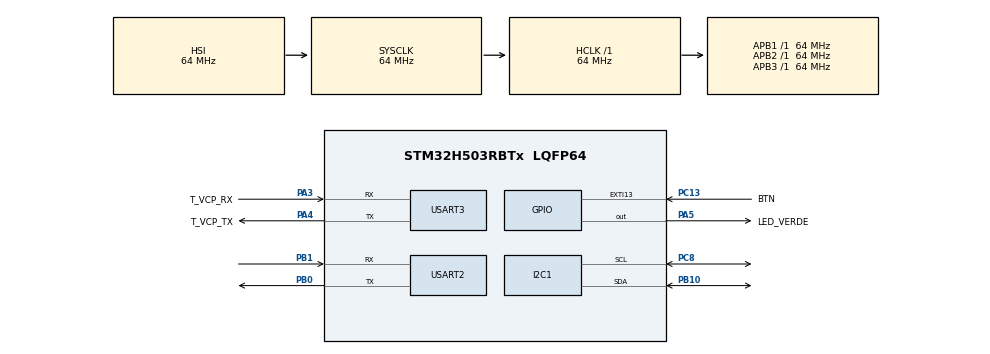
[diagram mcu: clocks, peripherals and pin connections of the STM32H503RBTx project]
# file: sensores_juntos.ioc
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BOOTPATH.BootPathName=LEGACY
BOOTPATH.UserSelectedBootPath=LEGACY
I2C1.Timing=0x10707DBC
Mcu.Family=STM32H5
Mcu.Name=STM32H503RBTx
Mcu.Package=LQFP64
NVIC.I2C1_EV_IRQn=true\:0\:0\:false\:false\:true\:true\:true\:true
NVIC.PriorityGroup=NVIC_PRIORITYGROUP_4
NVIC.USART3_IRQn=true\:0\:0\:false\:false\:true\:true\:true\:true
PA3.GPIO_Label=T_VCP_RX
PA3.Mode=Asynchronous
PA3.Signal=USART3_RX
PA4.GPIO_Label=T_VCP_TX
PA4.Mode=Asynchronous
PA4.Signal=USART3_TX
PA5.GPIO_Label=LED_VERDE
PA5.Signal=GPIO_Output
PB0.Mode=Asynchronous
PB0.Signal=USART2_TX
PB1.Mode=Asynchronous
PB1.Signal=USART2_RX
PB10.Mode=I2C
PB10.Signal=I2C1_SDA
PC13.GPIO_Label=BTN
PC13.Signal=GPXTI13
PC8.Mode=I2C
PC8.Signal=I2C1_SCL
ProjectManager.HeapSize=0x200
ProjectManager.StackSize=0x400
ProjectManager.TargetToolchain=STM32CubeIDE
RCC.ADCFreq_Value=64000000
RCC.AHBFreq_Value=64000000
RCC.APB1Freq_Value=64000000
RCC.APB1TimFreq_Value=64000000
RCC.APB2Freq_Value=64000000
RCC.APB2TimFreq_Value=64000000
RCC.APB3Freq_Value=64000000
RCC.CSI_VALUE=4000000
RCC.CortexFreq_Value=64000000
RCC.EPOD_VALUE=4000000
RCC.HCLKFreq_Value=64000000
RCC.HSE_VALUE=24000000
RCC.HSI48_VALUE=48000000
RCC.HSIDiv=RCC_HSI_DIV1
RCC.HSI_VALUE=64000000
RCC.LSE_VALUE=32768
RCC.LSIRC_VALUE=32000
RCC.PLLN=32
RCC.SYSCLKFreq_VALUE=64000000
RCC.USBFreq_Value=48000000
RCC.VCOOutputFreq_Value=128000000
USART2.VirtualMode-Asynchronous=VM_ASYNC
USART3.VirtualMode-Asynchronous=VM_ASYNC
VP_BOOTPATH_VS_BOOTPATH.Mode=BP_Activate
VP_CORTEX_M33_NS_VS_Hclk.Mode=Hclk_Mode
VP_MEMORYMAP_VS_MEMORYMAP.Mode=CurAppReg
VP_PWR_VS_DBSignals.Mode=DisableDeadBatterySignals
VP_PWR_VS_LPOM.Mode=PowerOptimisation
VP_PWR_VS_SECSignals.Mode=Security/Privilege
board=NUCLEO-H503RB

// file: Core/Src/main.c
/* USER CODE BEGIN Header */
/**
  ******************************************************************************
  * @file           : main.c
  * @brief          : Main program body
  ******************************************************************************
  * @attention
  *
  * Copyright (c) 2025 STMicroelectronics.
  * All rights reserved.
  *
  * This software is licensed under terms that can be found in the LICENSE file
  * in the root directory of this software component.
  * If no LICENSE file comes with this software, it is provided AS-IS.
  *
  ******************************************************************************
  */
/* USER CODE END Header */
#include "main.h"

/* USER CODE BEGIN Includes */
#include "stdbool.h"
#include "stdio.h"
#include "string.h"
/* USER CODE END Includes */

/* USER CODE BEGIN PTD */
#define BUFFER_MAX_USART 100

//---------------------ACELEROMETRO-----------------------------------------
#define ADXL345_ADDR       0x53<<1  //Dirección I2C
#define REG_DEVID          0x00
#define REG_POWER_CTL      0x2D
#define REG_DATA_FORMAT    0x31
#define REG_BW_RATE        0x2C
#define REG_DATAX0         0x32
#define REG_DATAX1         0x33
#define REG_DATAY0         0x34
#define REG_DATAY1         0x35
#define REG_DATAZ0         0x36
#define REG_DATAZ1         0x37

#define REG_THRESH_ACT     0x24
#define REG_INT_ENABLE     0x2E
#define REG_INT_SOURCE     0x30

typedef struct{
	uint8_t bytes [BUFFER_MAX_USART];
	uint16_t longitud;
}Transfer_Config;

typedef struct{
	volatile float x_axis;
	volatile float y_axis;
	volatile float z_axis;
	volatile float acelX_filtrada;
	volatile float acelY_filtrada;
	volatile float acelZ_filtrada;
	volatile float deltaX;
	volatile float deltaY;
	volatile float deltaZ;
	volatile float prevX;
	volatile float prevY;

	bool startMeasure;
} Device_Config;

typedef struct{
	uint8_t ID;
	bool deviceReady;
	uint8_t rawData[8];
	int16_t rawX;
	int16_t rawY;
	int16_t rawZ;
} ADXL_Config;

typedef struct{
	uint8_t data_format;
	uint8_t power_ctl;
	uint8_t bw_rate;
} Values_ADXL;

Device_Config datos={};
ADXL_Config acelerometro={};
Values_ADXL values={};
Transfer_Config tx={};
Transfer_Config tx_debug={}; // Nuevo para mensajes internos

void ADXL_Init(void);
void Value_Conversion(void);
void Send_USART(void);
float filtroSuavizado(float nuevo, float anterior);

//----------------------------CALIDAD DE AIRE--------------------------------
#define AHT21_ADDR    (0x38 << 1)

#define ENS160_ADDR_52   (0x52 << 1)
#define ENS160_ADDR_53   (0x53 << 1)

/* ENS160 registros útiles */
#define ENS160_PART_ID       0x00
#define ENS160_OPMODE        0x10
#define ENS160_CONFIG        0x11
#define ENS160_COMMAND       0x12
#define ENS160_TEMP_IN       0x13
#define ENS160_RH_IN         0x15
#define ENS160_DEVICE_STATUS 0x20
#define ENS160_DATA_AQI      0x21
#define ENS160_DATA_TVOC     0x22
#define ENS160_DATA_ECO2     0x24

typedef struct{
	bool ens160_found;
	uint8_t ID_LSB;
	uint8_t ID_MSB;
	uint16_t ID1;
	bool deviceReady1;
	bool dataReady1;
	uint8_t config_value;
	uint8_t command_value;
	uint8_t opmode_value;
	uint8_t status;
	uint8_t aqi;
	uint16_t tvoc;
	uint16_t eco2;
} ENS160_Config;

typedef struct{
	bool aht21_found;
	uint8_t status;
	bool deviceReady1;
	float temperature;
	float humidity;
} AHT21_Config;

ENS160_Config ens160 = {};
AHT21_Config aht21 = {};

void ENS160_Init(void);
void ENS160_ConfigReg(void);
void AHT21_Init(void);
bool AHT21_ReadData(float *temperature, float *humidity);
void ENS160_SetTempHum(float *temperature, float *humidity);
void Read_ENS160_Data(void);
void Send_USART(void);
/* USER CODE END PTD */

/* USER CODE BEGIN PD */
// En la sección de variables globales (después de las estructuras)
static uint32_t timestamp_inicio_leve = 0;
static uint32_t timestamp_inicio_fuerte = 0;
static uint32_t timestamp_inicio_critico = 0;
static uint32_t timestamp_ultima_deteccion_leve = 0;
static uint32_t timestamp_ultima_deteccion_fuerte = 0;
static uint32_t timestamp_ultima_deteccion_critico = 0;

static uint8_t contador_leve = 0;
static uint8_t contador_fuerte = 0;
static uint8_t contador_critico = 0;

//static bool alerta_leve_enviada = false;
//static bool alerta_fuerte_enviada = false;
//static bool alerta_critica_enviada = false;

#define VENTANA_TIEMPO 2000        // 2 segundos en milisegundos
#define DETECCIONES_MINIMAS 5      // Mínimo de detecciones en la ventana
#define TIMEOUT_RESETEO 1000       // 1 segundo sin detecciones para resetear

/* USER CODE END PD */

I2C_HandleTypeDef hi2c1;

UART_HandleTypeDef huart2;
UART_HandleTypeDef huart3;

void SystemClock_Config(void);
static void MX_GPIO_Init(void);
static void MX_I2C1_Init(void);
static void MX_USART2_UART_Init(void);
static void MX_USART3_UART_Init(void);

int main(void)
{

  /* MCU Configuration--------------------------------------------------------*/

  /* Reset of all peripherals, Initializes the Flash interface and the Systick. */
  HAL_Init();

  /* Configure the system clock */
  SystemClock_Config();

  /* Initialize all configured peripherals */
  MX_GPIO_Init();
  MX_I2C1_Init();
  MX_USART2_UART_Init();
  MX_USART3_UART_Init();
  /* USER CODE BEGIN 2 */

  //------------ACELEROMETRO--------------
  datos.startMeasure=false;
  datos.x_axis=0;
  datos.y_axis=0;
  datos.z_axis=0;
  datos.acelX_filtrada=0;
  datos.acelY_filtrada=0;
  datos.acelZ_filtrada=0;
  datos.deltaX=0;
  datos.deltaY=0;
  datos.deltaZ=0;
  datos.prevX=0;
  datos.prevY=0;

  HAL_I2C_Mem_Read(&hi2c1, ADXL345_ADDR, REG_DEVID, 1, &acelerometro.ID, 1, 100);
  if (acelerometro.ID==0xE5) {
	  acelerometro.deviceReady=true;
  } else{
	  acelerometro.deviceReady=false;
  }

  if(acelerometro.deviceReady){
	  ADXL_Init(); //configuracion de acelerometro
  }

  //----------------CALIDAD AIRE----------------
  ENS160_Init();
  if (ens160.deviceReady1){
	ENS160_ConfigReg();
  }

  AHT21_Init();

  /* USER CODE END 2 */

  /* Infinite loop */
  /* USER CODE BEGIN WHILE */
  while (1)
  {
	  //------------ACEELEROMETRO----------------
	  //obtencion de datos crudos
		uint8_t buffer[2];

		// Leer X
		HAL_I2C_Mem_Read(&hi2c1, ADXL345_ADDR, REG_DATAX0, 1, buffer, 2, 100);
		acelerometro.rawX = (buffer[1] << 8 | buffer[0]);

		// Leer Y
		HAL_I2C_Mem_Read(&hi2c1, ADXL345_ADDR, REG_DATAY0, 1, buffer, 2, 100);
		acelerometro.rawY =(buffer[1] << 8 | buffer[0]);

		//Leer Z
		HAL_I2C_Mem_Read(&hi2c1, ADXL345_ADDR, REG_DATAZ0, 1, buffer, 2, 100);
		acelerometro.rawZ = (buffer[1] << 8 | buffer[0]);

		Value_Conversion();
//		Send_USART();

		datos.acelX_filtrada = filtroSuavizado(datos.x_axis, datos.acelX_filtrada);
		datos.acelY_filtrada = filtroSuavizado(datos.y_axis, datos.acelY_filtrada);
		datos.acelZ_filtrada = filtroSuavizado(datos.z_axis, datos.acelZ_filtrada);

		// Calcular deltas
		datos.deltaX = datos.acelX_filtrada - datos.prevX;
		datos.deltaY = datos.acelY_filtrada - datos.prevY;

		datos.prevX = datos.acelX_filtrada;
		datos.prevY = datos.acelY_filtrada;

		// Magnitud lateral (evitar gravedad)
		float magnitudLateral = sqrt(datos.deltaX*datos.deltaX + datos.deltaY*datos.deltaY);
		uint32_t tiempo_actual = HAL_GetTick();

		// ==================== TEMBLOR LEVE ====================
		if (magnitudLateral > 0.01 && magnitudLateral < 0.03) {
		    // Si es la primera detección, iniciar timestamp
		    if (contador_leve == 0) {
//		        snprintf((char*)tx.bytes, sizeof(tx.bytes), "Inicia contador leve\r\n");
//		        HAL_UART_Transmit(&huart3, tx.bytes, strlen((char*)tx.bytes), 1000);
		        timestamp_inicio_leve = tiempo_actual;
		    }

		    contador_leve++;
		    timestamp_ultima_deteccion_leve = tiempo_actual;
//		    snprintf((char*)tx.bytes, sizeof(tx.bytes), "+\r\n");
//		    HAL_UART_Transmit(&huart3, tx.bytes, strlen((char*)tx.bytes), 1000);

		    // Verificar si han pasado 2 segundos con suficientes detecciones
		    if ((tiempo_actual - timestamp_inicio_leve) >= VENTANA_TIEMPO) {
		        if (contador_leve >= DETECCIONES_MINIMAS) {
		            snprintf((char*)tx.bytes, sizeof(tx.bytes), "TEMBLOR LEVE DETECTADO\r\n");
//		            HAL_UART_Transmit(&huart3, tx.bytes, strlen((char*)tx.bytes), 1000);
		            HAL_UART_Transmit(&huart2, tx.bytes, strlen((char*)tx.bytes), 1000);

		            // RESETEAR después de enviar alerta para detectar cambios
		            contador_leve = 0;
		            timestamp_inicio_leve = 0;
		        }
		    }
		}

		// Resetear solo si ha pasado MUCHO tiempo sin detección
		if (contador_leve > 0 && (tiempo_actual - timestamp_ultima_deteccion_leve) > TIMEOUT_RESETEO) {
		    snprintf((char*)tx.bytes, sizeof(tx.bytes), "Reseteo de contador\r");
//		    HAL_UART_Transmit(&huart3, tx.bytes, strlen((char*)tx.bytes), 1000);
		    contador_leve = 0;
		    timestamp_inicio_leve = 0;
		}

		// ==================== TEMBLOR FUERTE ====================
		if (magnitudLateral >= 0.03 && magnitudLateral < 0.05) {
		    if (contador_fuerte == 0) {
		        snprintf((char*)tx.bytes, sizeof(tx.bytes), "Inicia contador fuerte\r\n");
//		        HAL_UART_Transmit(&huart3, tx.bytes, strlen((char*)tx.bytes), 1000);
		        timestamp_inicio_fuerte = tiempo_actual;
		    }

		    contador_fuerte++;
		    timestamp_ultima_deteccion_fuerte = tiempo_actual;
		    snprintf((char*)tx.bytes, sizeof(tx.bytes), "+\r\n");
//		    HAL_UART_Transmit(&huart3, tx.bytes, strlen((char*)tx.bytes), 1000);

		    if ((tiempo_actual - timestamp_inicio_fuerte) >= VENTANA_TIEMPO) {
		        if (contador_fuerte >= DETECCIONES_MINIMAS) {
		            snprintf((char*)tx.bytes, sizeof(tx.bytes), "TEMBLOR FUERTE DETECTADO\r\n");
		            HAL_UART_Transmit(&huart3, tx.bytes, strlen((char*)tx.bytes), 1000);
		            HAL_UART_Transmit(&huart2, tx.bytes, strlen((char*)tx.bytes), 1000);

		            // RESETEAR después de enviar alerta
		            contador_fuerte = 0;
		            timestamp_inicio_fuerte = 0;
		        }
		    }
		}

		if (contador_fuerte > 0 && (tiempo_actual - timestamp_ultima_deteccion_fuerte) > TIMEOUT_RESETEO) {
		    contador_fuerte = 0;
		    timestamp_inicio_fuerte = 0;
		}

		// ==================== CRÍTICO ====================
		if (magnitudLateral >= 0.65) {
		    if (contador_critico == 0) {
		        snprintf((char*)tx.bytes, sizeof(tx.bytes), "Inicia contador critico\r\n");
//		        HAL_UART_Transmit(&huart3, tx.bytes, strlen((char*)tx.bytes), 1000);
		        timestamp_inicio_critico = tiempo_actual;
		    }

		    contador_critico++;
		    timestamp_ultima_deteccion_critico = tiempo_actual;
		    snprintf((char*)tx.bytes, sizeof(tx.bytes), "+\r\n");
//		    HAL_UART_Transmit(&huart3, tx.bytes, strlen((char*)tx.bytes), 1000);

		    if ((tiempo_actual - timestamp_inicio_critico) >= VENTANA_TIEMPO) {
		        if (contador_critico >= DETECCIONES_MINIMAS) {
		            snprintf((char*)tx.bytes, sizeof(tx.bytes), "ALERTA CRITICA: RIESGO ESTRUCTURAL\r\n");
		            HAL_UART_Transmit(&huart3, tx.bytes, strlen((char*)tx.bytes), 1000);
		            HAL_UART_Transmit(&huart2, tx.bytes, strlen((char*)tx.bytes), 1000);

		            // RESETEAR después de enviar alerta
		            contador_critico = 0;
		            timestamp_inicio_critico = 0;
		        }
		    }
		}

		if (contador_critico > 0 && (tiempo_actual - timestamp_ultima_deteccion_critico) > TIMEOUT_RESETEO) {
		    contador_critico = 0;
		    timestamp_inicio_critico = 0;
		}
//		// Detección
//		if (magnitudLateral > 0.01 && magnitudLateral < 0.03) {
//			snprintf((char*)tx.bytes, sizeof(tx.bytes), "TEMBLOR LEVE DETECTADO\r\n");
//			HAL_UART_Transmit(&huart3, tx.bytes, strlen((char*)tx.bytes), 1000);
//			HAL_UART_Transmit(&huart2, tx.bytes, strlen((char*)tx.bytes), 1000);
//
//
//		}
//
//		else if (magnitudLateral >= 0.03 && magnitudLateral < 0.05) {
//			snprintf((char*)tx.bytes, sizeof(tx.bytes), "TEMBLOR FUERTE DETECTADO\r\n");
//			HAL_UART_Transmit(&huart3, tx.bytes, strlen((char*)tx.bytes), 1000);
//			HAL_UART_Transmit(&huart2, tx.bytes, strlen((char*)tx.bytes), 1000);
//
//		}
//
//		else if (magnitudLateral >= 0.65) {
//			snprintf((char*)tx.bytes, sizeof(tx.bytes), "ALERTA CRITICA: RIESGO ESTRUCTURAL\r\n");
//			HAL_UART_Transmit(&huart3, tx.bytes, strlen((char*)tx.bytes), 1000);
//			HAL_UART_Transmit(&huart2, tx.bytes, strlen((char*)tx.bytes), 1000);
//
//		}

	  //------------CALIDAD DE AIRE--------------
	  if(AHT21_ReadData(&aht21.temperature, &aht21.humidity)){
	  		  ENS160_SetTempHum(&aht21.temperature, &aht21.humidity); // ENS160 --> compensación ambiental
	  	  }

	  	  HAL_I2C_Mem_Read(&hi2c1, ENS160_ADDR_52, ENS160_DEVICE_STATUS, 1, &ens160.status, 1, 100);
	  	  bool opmode_running = ens160.status & (1 << 7);
	  	  bool error_detected = ens160.status & (1 << 6);
	  	  uint8_t validity_flag = (ens160.status >> 2) & 0x03;
	  	  bool new_data = ens160.status & (1 << 1);

	  	  // Acepta datos si NO hay error y NO es output inválido (flag 3)
	  	  if(opmode_running && !error_detected && validity_flag != 3 && new_data){
	  		  ens160.dataReady1 = true;

	  		  // Opcional: indicar que los datos aún no son 100% precisos
	  //		  ens160.isCalibrated = (validity_flag == 0);
	  	  } else {
	  		  ens160.dataReady1 = false;
	  	  }

	  	  if(ens160.dataReady1){
	  		  Read_ENS160_Data();
	  		  Send_USART(); // Enviar datos por UART

	  		  const float UMBRAL_TVOC_CRITICO_MIN = 10000.0;
	  		  const int UMBRAL_AQI_CRITICO_MIN    = 5;
	  		  const float UMBRAL_TVOC_FUERTE_MIN  = 5000.0;
	  		  const int UMBRAL_AQI_FUERTE_MIN     = 4;
	  		  const int UMBRAL_AQI_LEVE_MIN       = 2;

	  		  // 1. ALERTA CRÍTICA: TVOC EXTREMO O AQI EN NIVEL MÁXIMO (Riesgo Inminente)
	  		  if (ens160.tvoc >= UMBRAL_TVOC_CRITICO_MIN || ens160.aqi >= UMBRAL_AQI_CRITICO_MIN) {
	  			  snprintf((char*)tx.bytes, sizeof(tx.bytes), "ALERTA CRITICA: NIVELES TOXICOS\r\n");
	  			  HAL_UART_Transmit(&huart3, tx.bytes, strlen((char*)tx.bytes), 1000);
	  			  HAL_UART_Transmit(&huart2, tx.bytes, strlen((char*)tx.bytes), 1000);
	  		  }
	  		  // 2. ALERTA FUERTE: TVOC ALTO O AQI EN NIVEL 4 (Requiere Acción Rápida)
	  		  else if (ens160.tvoc >= UMBRAL_TVOC_FUERTE_MIN || ens160.aqi >= UMBRAL_AQI_FUERTE_MIN) {
	  			  snprintf((char*)tx.bytes, sizeof(tx.bytes), "ALERTA FUERTE: VENTILACION URGENTE\r\n");
	  			  HAL_UART_Transmit(&huart3, tx.bytes, strlen((char*)tx.bytes), 1000);
				  HAL_UART_Transmit(&huart2, tx.bytes, strlen((char*)tx.bytes), 1000);
	  		  }
	  		  // 3. ALERTA LEVE: AQI en 2 o 3 O CO2 ELEVADO (Requiere Ventilación General)
	  		  else if (ens160.aqi >= UMBRAL_AQI_LEVE_MIN || ens160.eco2 > 1000) {
	  			  // Aquí combinamos el AQI bajo y la CO2 alta, que ambos sugieren "VENTILAR"
	  			  if (ens160.eco2 > 1000) {
	  				  snprintf((char*)tx.bytes, sizeof(tx.bytes), "ALERTA LEVE: CO2 ELEVADO\r\n");
	  			  } else {
	  				  snprintf((char*)tx.bytes, sizeof(tx.bytes), "ALERTA LEVE: VENTILAR\r\n");
	  			  }
	  			  HAL_UART_Transmit(&huart3, tx.bytes, strlen((char*)tx.bytes), 1000);
	  			  HAL_UART_Transmit(&huart2, tx.bytes, strlen((char*)tx.bytes), 1000);
	  		  }
	  		  // 4. CALIDAD BUENA
	  		  else {
	  			  // snprintf((char*)tx.bytes, sizeof(tx.bytes), "CALIDAD AIRE BUENA\r\n");
	  			  HAL_UART_Transmit(&huart3, tx.bytes, strlen((char*)tx.bytes), 1000);
	  			  HAL_UART_Transmit(&huart2, tx.bytes, strlen((char*)tx.bytes), 1000);
	  		  }

//	  		  // 1. ALERTA CRÍTICA: TVOC EXTREMO O EL PEOR AQI
//	  		  if (ens160.tvoc >= UMBRAL_TVOC_CRITICO_MIN || ens160.aqi >= UMBRAL_AQI_CRITICO_MIN) {
//	  			  snprintf((char*)tx.bytes, sizeof(tx.bytes), "ALERTA CRITICA: NIVELES TOXICOS\r\n");
//	  			  HAL_UART_Transmit(&huart3, tx.bytes, strlen((char*)tx.bytes), 1000);
//	  			  HAL_UART_Transmit(&huart2, tx.bytes, strlen((char*)tx.bytes), 1000);
//	  		  }
//	  		  // 2. ALERTA FUERTE: TVOC ALTO O AQI EN NIVEL 4
//	  		  else if (ens160.tvoc >= UMBRAL_TVOC_FUERTE_MIN || ens160.aqi >= UMBRAL_AQI_FUERTE_MIN) {
//	  			  snprintf((char*)tx.bytes, sizeof(tx.bytes), "ADVERTENCIA VENTILAR\r\n");
//	  			  HAL_UART_Transmit(&huart3, tx.bytes, strlen((char*)tx.bytes), 1000);
//	  			  HAL_UART_Transmit(&huart2, tx.bytes, strlen((char*)tx.bytes), 1000);
//	  		  }
//	  		  // 3. ALERTA LEVE: AQI en 2 o 3 (Primeros signos de mala ventilación)
//	  		  else if (ens160.aqi >= UMBRAL_AQI_LEVE_MIN) {
//	  			  snprintf((char*)tx.bytes, sizeof(tx.bytes), "VENTILAR\r\n");
//	  			  HAL_UART_Transmit(&huart3, tx.bytes, strlen((char*)tx.bytes), 1000);
//	  			  HAL_UART_Transmit(&huart2, tx.bytes, strlen((char*)tx.bytes), 1000);
//	  		  }
//	  		  // 4. ALERTA CO2 (Independiente de los COVs)
//	  		  else if (ens160.eco2 > 1000) {
//	  			  snprintf((char*)tx.bytes, sizeof(tx.bytes), "CO2 ELEVADO\r\n");
//	  			  HAL_UART_Transmit(&huart3, tx.bytes, strlen((char*)tx.bytes), 1000);
//	  			  HAL_UART_Transmit(&huart2, tx.bytes, strlen((char*)tx.bytes), 1000);
//	  		  }
//	  		  else{
//	  			  //	snprintf((char*)tx.bytes, sizeof(tx.bytes), "CALIDAD AIRE BUENA\r\n");
//	  			  HAL_UART_Transmit(&huart3, tx.bytes, strlen((char*)tx.bytes), 1000);
//	  			  HAL_UART_Transmit(&huart2, tx.bytes, strlen((char*)tx.bytes), 1000);
//	  		  }

//	  		 ------------ ANTERIOR-----------------

//	  		  if(ens160.tvoc > 5300 && ens160.aqi >= 4){
//	  			snprintf((char*)tx.bytes, sizeof(tx.bytes), "ALERTA CRITICA: NIVELES TOXICOS\r\n");
//				HAL_UART_Transmit(&huart3, tx.bytes, strlen((char*)tx.bytes), 1000);
//				HAL_UART_Transmit(&huart2, tx.bytes, strlen((char*)tx.bytes), 1000);
//
//	  		  }
//	  		  else if(ens160.tvoc > 1600 && ens160.aqi >= 3){
//	  			snprintf((char*)tx.bytes, sizeof(tx.bytes), "ADVERTENCIA VENTILAR\r\n");
//				HAL_UART_Transmit(&huart3, tx.bytes, strlen((char*)tx.bytes), 1000);
//				HAL_UART_Transmit(&huart2, tx.bytes, strlen((char*)tx.bytes), 1000);
//
//	  		  }
//	  		  else if(ens160.tvoc > 530 && ens160.aqi >= 2){
//	  			snprintf((char*)tx.bytes, sizeof(tx.bytes), "VENTILAR\r\n");
//				HAL_UART_Transmit(&huart3, tx.bytes, strlen((char*)tx.bytes), 1000);
//				HAL_UART_Transmit(&huart2, tx.bytes, strlen((char*)tx.bytes), 1000);
//
//	  		  }
//	  		  else if(ens160.eco2>1000){
//	  			snprintf((char*)tx.bytes, sizeof(tx.bytes), "CO2 ELEVADO\r\n");
//				HAL_UART_Transmit(&huart3, tx.bytes, strlen((char*)tx.bytes), 1000);
//				HAL_UART_Transmit(&huart2, tx.bytes, strlen((char*)tx.bytes), 1000);
//
//	  		  }
//	  		  else{
////	  			snprintf((char*)tx.bytes, sizeof(tx.bytes), "CALIDAD AIRE BUENA\r\n");
//				HAL_UART_Transmit(&huart3, tx.bytes, strlen((char*)tx.bytes), 1000);
//				HAL_UART_Transmit(&huart2, tx.bytes, strlen((char*)tx.bytes), 1000);
//
//	  		  }

	  		  ens160.dataReady1 = false; // Opcional: limpiar bandera para esperar próxima lectura

	  	  }

    /* USER CODE END WHILE */

  }
}

void SystemClock_Config(void)
{
  RCC_OscInitTypeDef RCC_OscInitStruct = {0};
  RCC_ClkInitTypeDef RCC_ClkInitStruct = {0};

  /** Configure the main internal regulator output voltage
  */
  __HAL_PWR_VOLTAGESCALING_CONFIG(PWR_REGULATOR_VOLTAGE_SCALE3);

  while(!__HAL_PWR_GET_FLAG(PWR_FLAG_VOSRDY)) {}

  /** Initializes the RCC Oscillators according to the specified parameters
  * in the RCC_OscInitTypeDef structure.
  */
  RCC_OscInitStruct.OscillatorType = RCC_OSCILLATORTYPE_HSI;
  RCC_OscInitStruct.HSIState = RCC_HSI_ON;
  RCC_OscInitStruct.HSIDiv = RCC_HSI_DIV1;
  RCC_OscInitStruct.HSICalibrationValue = RCC_HSICALIBRATION_DEFAULT;
  RCC_OscInitStruct.PLL.PLLState = RCC_PLL_NONE;
  if (HAL_RCC_OscConfig(&RCC_OscInitStruct) != HAL_OK)
  {
    Error_Handler();
  }

  /** Initializes the CPU, AHB and APB buses clocks
  */
  RCC_ClkInitStruct.ClockType = RCC_CLOCKTYPE_HCLK|RCC_CLOCKTYPE_SYSCLK
                              |RCC_CLOCKTYPE_PCLK1|RCC_CLOCKTYPE_PCLK2
                              |RCC_CLOCKTYPE_PCLK3;
  RCC_ClkInitStruct.SYSCLKSource = RCC_SYSCLKSOURCE_HSI;
  RCC_ClkInitStruct.AHBCLKDivider = RCC_SYSCLK_DIV1;
  RCC_ClkInitStruct.APB1CLKDivider = RCC_HCLK_DIV1;
  RCC_ClkInitStruct.APB2CLKDivider = RCC_HCLK_DIV1;
  RCC_ClkInitStruct.APB3CLKDivider = RCC_HCLK_DIV1;

  if (HAL_RCC_ClockConfig(&RCC_ClkInitStruct, FLASH_LATENCY_3) != HAL_OK)
  {
    Error_Handler();
  }

  /** Configure the programming delay
  */
  __HAL_FLASH_SET_PROGRAM_DELAY(FLASH_PROGRAMMING_DELAY_1);
}

static void MX_I2C1_Init(void)
{

  hi2c1.Instance = I2C1;
  hi2c1.Init.Timing = 0x10707DBC;
  hi2c1.Init.OwnAddress1 = 0;
  hi2c1.Init.AddressingMode = I2C_ADDRESSINGMODE_7BIT;
  hi2c1.Init.DualAddressMode = I2C_DUALADDRESS_DISABLE;
  hi2c1.Init.OwnAddress2 = 0;
  hi2c1.Init.OwnAddress2Masks = I2C_OA2_NOMASK;
  hi2c1.Init.GeneralCallMode = I2C_GENERALCALL_DISABLE;
  hi2c1.Init.NoStretchMode = I2C_NOSTRETCH_DISABLE;
  if (HAL_I2C_Init(&hi2c1) != HAL_OK)
  {
    Error_Handler();
  }

  /** Configure Analogue filter
  */
  if (HAL_I2CEx_ConfigAnalogFilter(&hi2c1, I2C_ANALOGFILTER_ENABLE) != HAL_OK)
  {
    Error_Handler();
  }

  /** Configure Digital filter
  */
  if (HAL_I2CEx_ConfigDigitalFilter(&hi2c1, 0) != HAL_OK)
  {
    Error_Handler();
  }

}

static void MX_USART2_UART_Init(void)
{

  huart2.Instance = USART2;
  huart2.Init.BaudRate = 115200;
  huart2.Init.WordLength = UART_WORDLENGTH_8B;
  huart2.Init.StopBits = UART_STOPBITS_1;
  huart2.Init.Parity = UART_PARITY_NONE;
  huart2.Init.Mode = UART_MODE_TX_RX;
  huart2.Init.HwFlowCtl = UART_HWCONTROL_NONE;
  huart2.Init.OverSampling = UART_OVERSAMPLING_16;
  huart2.Init.OneBitSampling = UART_ONE_BIT_SAMPLE_DISABLE;
  huart2.Init.ClockPrescaler = UART_PRESCALER_DIV1;
  huart2.AdvancedInit.AdvFeatureInit = UART_ADVFEATURE_NO_INIT;
  if (HAL_UART_Init(&huart2) != HAL_OK)
  {
    Error_Handler();
  }
  if (HAL_UARTEx_SetTxFifoThreshold(&huart2, UART_TXFIFO_THRESHOLD_1_8) != HAL_OK)
  {
    Error_Handler();
  }
  if (HAL_UARTEx_SetRxFifoThreshold(&huart2, UART_RXFIFO_THRESHOLD_1_8) != HAL_OK)
  {
    Error_Handler();
  }
  if (HAL_UARTEx_DisableFifoMode(&huart2) != HAL_OK)
  {
    Error_Handler();
  }

}

static void MX_USART3_UART_Init(void)
{

  huart3.Instance = USART3;
  huart3.Init.BaudRate = 115200;
  huart3.Init.WordLength = UART_WORDLENGTH_8B;
  huart3.Init.StopBits = UART_STOPBITS_1;
  huart3.Init.Parity = UART_PARITY_NONE;
  huart3.Init.Mode = UART_MODE_TX_RX;
  huart3.Init.HwFlowCtl = UART_HWCONTROL_NONE;
  huart3.Init.OverSampling = UART_OVERSAMPLING_16;
  huart3.Init.OneBitSampling = UART_ONE_BIT_SAMPLE_DISABLE;
  huart3.Init.ClockPrescaler = UART_PRESCALER_DIV1;
  huart3.AdvancedInit.AdvFeatureInit = UART_ADVFEATURE_NO_INIT;
  if (HAL_UART_Init(&huart3) != HAL_OK)
  {
    Error_Handler();
  }
  if (HAL_UARTEx_SetTxFifoThreshold(&huart3, UART_TXFIFO_THRESHOLD_1_8) != HAL_OK)
  {
    Error_Handler();
  }
  if (HAL_UARTEx_SetRxFifoThreshold(&huart3, UART_RXFIFO_THRESHOLD_1_8) != HAL_OK)
  {
    Error_Handler();
  }
  if (HAL_UARTEx_DisableFifoMode(&huart3) != HAL_OK)
  {
    Error_Handler();
  }

}

static void MX_GPIO_Init(void)
{
  GPIO_InitTypeDef GPIO_InitStruct = {0};

  /* GPIO Ports Clock Enable */
  __HAL_RCC_GPIOC_CLK_ENABLE();
  __HAL_RCC_GPIOA_CLK_ENABLE();
  __HAL_RCC_GPIOB_CLK_ENABLE();

  /*Configure GPIO pin Output Level */
  HAL_GPIO_WritePin(LED_VERDE_GPIO_Port, LED_VERDE_Pin, GPIO_PIN_RESET);

  /*Configure GPIO pin : BTN_Pin */
  GPIO_InitStruct.Pin = BTN_Pin;
  GPIO_InitStruct.Mode = GPIO_MODE_IT_RISING;
  GPIO_InitStruct.Pull = GPIO_NOPULL;
  HAL_GPIO_Init(BTN_GPIO_Port, &GPIO_InitStruct);

  /*Configure GPIO pin : LED_VERDE_Pin */
  GPIO_InitStruct.Pin = LED_VERDE_Pin;
  GPIO_InitStruct.Mode = GPIO_MODE_OUTPUT_PP;
  GPIO_InitStruct.Pull = GPIO_NOPULL;
  GPIO_InitStruct.Speed = GPIO_SPEED_FREQ_LOW;
  HAL_GPIO_Init(LED_VERDE_GPIO_Port, &GPIO_InitStruct);

}

/* USER CODE BEGIN 4 */

	//-------------------ACELEROMETRO----------------
	void ADXL_Init(void){
		  values.bw_rate=0x0A; //100MHZ
		  values.data_format=0x00; //Rango +2g
		  values.power_ctl=0x08; //medicion activado

		  HAL_I2C_Mem_Write(&hi2c1, ADXL345_ADDR, REG_POWER_CTL, 1, &values.power_ctl, 1, 100);
		  HAL_I2C_Mem_Write(&hi2c1, ADXL345_ADDR, REG_DATA_FORMAT, 1, &values.data_format, 1, 100);
		  HAL_I2C_Mem_Write(&hi2c1, ADXL345_ADDR, REG_BW_RATE, 1, &values.bw_rate, 1, 100);
	}

	void Value_Conversion(void){
		datos.x_axis = acelerometro.rawX / 256.0;
		datos.y_axis = acelerometro.rawY / 256.0;
		datos.z_axis = acelerometro.rawZ / 256.0;
	}

	float filtroSuavizado(float nuevo, float anterior) {
		return 0.8 * anterior + 0.2 * nuevo;  // Filtro paso bajo
	}

	//-------------------CALIDAD AIRE----------------
	void ENS160_Init(void){
		HAL_I2C_Mem_Read(&hi2c1, ENS160_ADDR_52, ENS160_PART_ID, 1, &ens160.ID_MSB, 1, 100);
		HAL_I2C_Mem_Read(&hi2c1, ENS160_ADDR_52, ENS160_PART_ID + 1, 1, &ens160.ID_LSB, 1, 100);

		ens160.ID1 = (ens160.ID_MSB << 8) | ens160.ID_LSB;

		if (ens160.ID1 == 0x6001){
			ens160.deviceReady1 = true;
		} else {
			ens160.deviceReady1 = false;
		}
	}

	void ENS160_ConfigReg(void){
		ens160.config_value = 0x00;		// CONFIG: interrupción desactivada (bit 0 = 0)
		ens160.command_value = 0xCC; 	// Limpiar registros GPR antes de iniciar
		ens160.opmode_value = 0x02;  	// 0x02 = Active gas sensing operating mode

		HAL_I2C_Mem_Write(&hi2c1, ENS160_ADDR_52, ENS160_CONFIG, 1, &ens160.config_value, 1, 100);
		HAL_I2C_Mem_Write(&hi2c1, ENS160_ADDR_52, ENS160_COMMAND, 1, &ens160.command_value, 1, 100);
		HAL_I2C_Mem_Write(&hi2c1, ENS160_ADDR_52, ENS160_OPMODE, 1, &ens160.opmode_value, 1, 100);
	}

	void AHT21_Init(void) {
		HAL_Delay(100);  // Esperar ≥100 ms tras encendido
		uint8_t command = 0x71; // Comando para leer status word

		HAL_I2C_Master_Transmit(&hi2c1, AHT21_ADDR, &command, 1, 100);
		HAL_I2C_Master_Receive(&hi2c1, AHT21_ADDR, &aht21.status, 1, 100);

		if (aht21.status == 0x18) {
			aht21.deviceReady1 = true;
		} else {
			aht21.deviceReady1 = false; // no calibrado o mal inicializado
		}
	}

	bool AHT21_ReadData(float *temperature, float *humidity) {
		uint8_t command_trigger[3] = {0xAC, 0x33, 0x00};
		uint8_t command_status = 0x71;
		uint8_t status;
		uint8_t data[6];

		// Iniciar medición
		HAL_I2C_Master_Transmit(&hi2c1, AHT21_ADDR, command_trigger, 3, 100);

		HAL_Delay(80);  // Esperar que termine la medición (~80 ms)

		// Leer estado (0x71)
		HAL_I2C_Master_Transmit(&hi2c1, AHT21_ADDR, &command_status, 1, 100);
		HAL_I2C_Master_Receive(&hi2c1, AHT21_ADDR, &status, 1, 100);

		if (status & 0x80) return false;  // sigue ocupado

		// Leer 6 bytes de datos
		HAL_I2C_Master_Receive(&hi2c1, AHT21_ADDR, data, 6, 100);

		// Convertir los datos
		uint32_t raw_humidity = ((uint32_t)data[1] << 12) | ((uint32_t)data[2] << 4) | (data[3] >> 4);
		uint32_t raw_temp     = (((uint32_t)data[3] & 0x0F) << 16) | ((uint32_t)data[4] << 8) | data[5];

		*humidity = ((float)raw_humidity / 1048576.0f) * 100.0f; // 2^20 = 1048576
		*temperature = ((float)raw_temp / 1048576.0f) * 200.0f - 50.0f;

		return true;
	}

	void ENS160_SetTempHum(float *temperature, float *humidity){
		uint16_t temp_kelvin = (uint16_t)((*temperature + 273.15f) * 64); //  DATA_T storage format
		uint16_t rh_scaled   = (uint16_t)(*humidity * 512); // DATA_RH storage format

		uint8_t temp_lsb = temp_kelvin & 0xFF;
		uint8_t temp_msb = temp_kelvin >> 8;
		uint8_t rh_lsb   = rh_scaled & 0xFF;
		uint8_t rh_msb   = rh_scaled >> 8;

		// Enviar al ENS160
		HAL_I2C_Mem_Write(&hi2c1, ENS160_ADDR_52, ENS160_TEMP_IN, 1, &temp_lsb, 1, 100);
		HAL_I2C_Mem_Write(&hi2c1, ENS160_ADDR_52, ENS160_TEMP_IN + 1, 1, &temp_msb, 1, 100);

		HAL_I2C_Mem_Write(&hi2c1, ENS160_ADDR_52, ENS160_RH_IN, 1, &rh_lsb, 1, 100);
		HAL_I2C_Mem_Write(&hi2c1, ENS160_ADDR_52, ENS160_RH_IN + 1, 1, &rh_msb, 1, 100);
	}

	void Read_ENS160_Data(void){
		uint8_t data_aqi_temp;
		uint8_t data_tvoc_lsb;
		uint8_t data_tvoc_msb;
		uint8_t data_eco2_lsb;
		uint8_t data_eco2_msb;

		// Leer AQI
		HAL_I2C_Mem_Read(&hi2c1, ENS160_ADDR_52, ENS160_DATA_AQI, 1, &data_aqi_temp, 1, 100);

		// Leer TVOC (2 bytes)
		HAL_I2C_Mem_Read(&hi2c1, ENS160_ADDR_52, ENS160_DATA_TVOC, 1, &data_tvoc_lsb, 1, 100);
		HAL_I2C_Mem_Read(&hi2c1, ENS160_ADDR_52, ENS160_DATA_TVOC + 1, 1, &data_tvoc_msb, 1, 100);

		// Leer eCO2 (2 bytes)
		HAL_I2C_Mem_Read(&hi2c1, ENS160_ADDR_52, ENS160_DATA_ECO2, 1, &data_eco2_lsb, 1, 100);
		HAL_I2C_Mem_Read(&hi2c1, ENS160_ADDR_52, ENS160_DATA_ECO2 + 1, 1, &data_eco2_msb, 1, 100);

		// Guardar los datos en la estructura
		ens160.aqi  = data_aqi_temp & 0x07;  // bits 0–2 son el AQI (1–5)
		ens160.tvoc = ((uint16_t)data_tvoc_msb << 8) | data_tvoc_lsb; // TVOC (ppb)
		ens160.eco2 = ((uint16_t)data_eco2_msb << 8) | data_eco2_lsb; // eCO2 (ppm)
	}

	void Send_USART() { //para acelerometro y calidad de aire
	    tx.longitud = (uint16_t)snprintf(
	        (char*)tx.bytes,
	        sizeof(tx.bytes),
	        "X: %.2f  Y: %.2f  Z: %.2f\r\n"
	        "Temp: %.2f C, Hum: %.2f %%\r\n"
	        "AQI: %d, TVOC: %d ppb, eCO2: %d ppm\r\n",
	        datos.x_axis,
	        datos.y_axis,
	        datos.z_axis,
	        aht21.temperature,
	        aht21.humidity,
	        ens160.aqi,
	        ens160.tvoc,
	        ens160.eco2
	    );

	    HAL_UART_Transmit(&huart3, tx.bytes, tx.longitud, 1000);

	    tx.longitud = (uint16_t)snprintf(
			(char*)tx.bytes,
			sizeof(tx.bytes),
			"X: %.2f  Y: %.2f  Z: %.2f\r\n"
			"Temp: %.2f C, Hum: %.2f %%\r\n"
			"AQI: %d, TVOC: %d ppb, eCO2: %d ppm\r\n",
			datos.x_axis,
			datos.y_axis,
			datos.z_axis,
			aht21.temperature,
			aht21.humidity,
			ens160.aqi,
			ens160.tvoc,
			ens160.eco2
		);

		HAL_UART_Transmit(&huart2, tx.bytes, tx.longitud, 1000);
	}

/* USER CODE END 4 */

void Error_Handler(void)
{
  __disable_irq();
  while (1)
  {
  }
}
